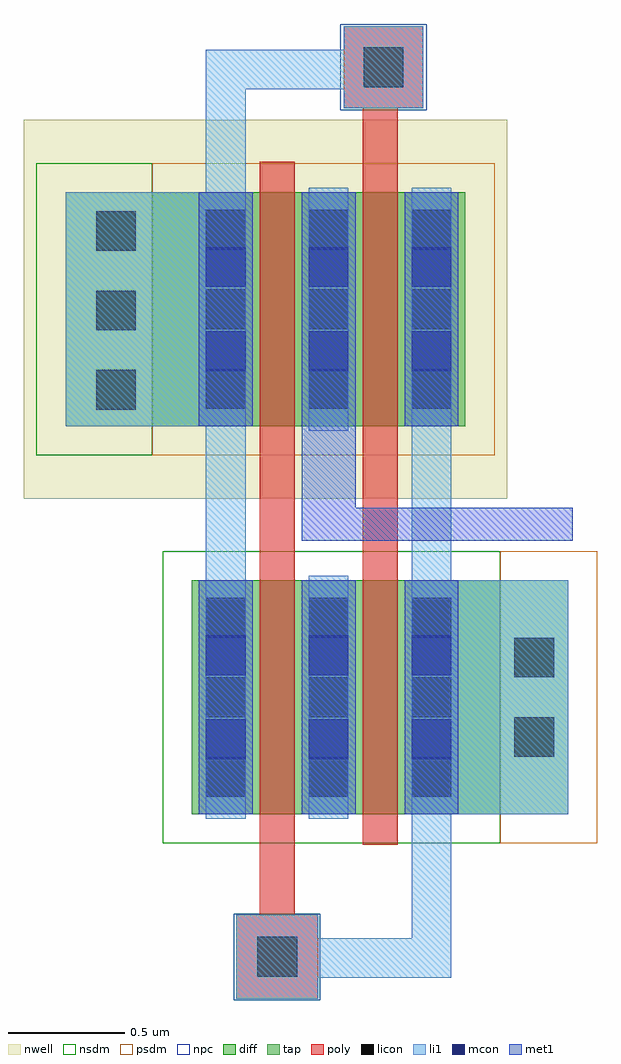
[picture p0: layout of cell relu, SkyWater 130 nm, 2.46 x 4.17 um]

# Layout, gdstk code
import gdstk
lib = gdstk.Library(unit=1e-6, precision=1e-09)
def R(c, l, rs):  # rectangles x0, y0, x1, y1
    for r in rs: c.add(gdstk.rectangle(r[:2], r[2:], *l))
def A(c, l, x, y, w, h, nx, ny, dx, dy):  # array of equal rectangles
    R(c, l, [(x+i*dx, y+j*dy, x+i*dx+w, y+j*dy+h) for i in range(nx) for j in range(ny)])
nwell = (64, 20)
diff = (65, 20)
tap = (65, 44)
poly = (66, 20)
licon = (66, 44)
li1 = (67, 20)
mcon = (67, 44)
met1 = (68, 20)
nsdm = (93, 44)
psdm = (94, 20)
npc = (95, 20)

sky130_fd_pr__pfet_01v8_ = lib.new_cell('sky130_fd_pr__pfet_01v8_5U3NDE')
R(sky130_fd_pr__pfet_01v8_, nwell, [(-0.545,-0.81,0.545,0.81)])
R(sky130_fd_pr__pfet_01v8_, diff, [(-0.365,-0.5,0.365,0.5)])
R(sky130_fd_pr__pfet_01v8_, poly, [(-0.075,-0.63,0.075,0.63)])
A(sky130_fd_pr__pfet_01v8_, licon, -0.305, -0.425, 0.17, 0.17, 1, 3, 0, 0.34)
A(sky130_fd_pr__pfet_01v8_, licon, 0.135, -0.425, 0.17, 0.17, 1, 3, 0, 0.34)
R(sky130_fd_pr__pfet_01v8_, li1, [(-0.305,-0.52,-0.135,0.52), (0.135,-0.52,0.305,0.52)])
R(sky130_fd_pr__pfet_01v8_, mcon, [(-0.305,-0.265,-0.135,-0.095), (0.135,-0.265,0.305,-0.095), (-0.305,0.095,-0.135,0.265), (0.135,0.095,0.305,0.265)])
R(sky130_fd_pr__pfet_01v8_, met1, [(-0.335,-0.5,-0.105,0.5), (0.105,-0.5,0.335,0.5)])
R(sky130_fd_pr__pfet_01v8_, psdm, [(-0.49,-0.625,0.49,0.625)])

sky130_fd_pr__nfet_01v8_ = lib.new_cell('sky130_fd_pr__nfet_01v8_J2TWZ5')
R(sky130_fd_pr__nfet_01v8_, diff, [(-0.365,-0.5,0.365,0.5)])
R(sky130_fd_pr__nfet_01v8_, poly, [(-0.075,-0.63,0.075,0.63)])
A(sky130_fd_pr__nfet_01v8_, licon, -0.305, -0.425, 0.17, 0.17, 1, 3, 0, 0.34)
A(sky130_fd_pr__nfet_01v8_, licon, 0.135, -0.425, 0.17, 0.17, 1, 3, 0, 0.34)
R(sky130_fd_pr__nfet_01v8_, li1, [(-0.305,-0.52,-0.135,0.52), (0.135,-0.52,0.305,0.52)])
R(sky130_fd_pr__nfet_01v8_, mcon, [(-0.305,-0.265,-0.135,-0.095), (0.135,-0.265,0.305,-0.095), (-0.305,0.095,-0.135,0.265), (0.135,0.095,0.305,0.265)])
R(sky130_fd_pr__nfet_01v8_, met1, [(-0.335,-0.5,-0.105,0.5), (0.105,-0.5,0.335,0.5)])
R(sky130_fd_pr__nfet_01v8_, nsdm, [(-0.49,-0.625,0.49,0.625)])

relu = lib.new_cell('relu')
R(relu, nwell, [(-3.78,2.38,-3.24,2.67), (-3.78,2.67,-3.23,2.69), (-3.78,2.69,-3,3.69), (-3.78,3.69,-3.23,3.73), (-3.78,3.73,-3.24,4)])
R(relu, diff, [(-1.89,1.03,-1.74,2.03), (-3.23,2.69,-3.06,3.69)])
R(relu, tap, [(-1.74,1.03,-1.45,2.03), (-3.6,2.69,-3.23,3.69)])
R(relu, poly, [(-2.87,0.24,-2.52,0.6), (-2.77,0.6,-2.62,0.9), (-2.77,2.16,-2.62,2.56), (-2.33,2.16,-2.18,2.56), (-2.33,3.82,-2.18,4.05), (-2.41,4.05,-2.07,4.4)])
A(relu, licon, -3.47, 2.76, 0.17, 0.17, 1, 3, 0, 0.34)
R(relu, licon, [(-2.78,0.335,-2.61,0.505), (-1.68,1.275,-1.51,1.445), (-1.68,1.615,-1.51,1.785), (-2.325,4.14,-2.155,4.31)])
R(relu, li1, [(-2.87,0.24,-2.52,0.33), (-2.87,0.33,-1.95,0.5), (-2.87,0.5,-2.52,0.6), (-2.12,0.5,-1.95,1.01), (-1.95,1.03,-1.45,2.03), (-3,2.05,-2.83,2.67), (-2.12,2.05,-1.95,2.67), (-3.6,2.69,-3,3.69), (-3,3.71,-2.83,4.13), (-2.41,4.05,-2.07,4.13), (-3,4.13,-2.07,4.3), (-2.41,4.3,-2.07,4.4)])
R(relu, met1, [(-2.59,2.2,-1.43,2.34), (-2.59,2.34,-2.36,2.69)])
R(relu, nsdm, [(-2.015,0.905,-1.74,2.155), (-3.725,2.565,-3.23,3.815)])
R(relu, psdm, [(-1.74,0.905,-1.325,2.155), (-3.23,2.565,-2.935,3.815)])
R(relu, npc, [(-2.88,0.235,-2.51,0.605), (-2.425,4.04,-2.055,4.41)])
relu.add(gdstk.Reference(sky130_fd_pr__pfet_01v8_, (-2.695,3.19)))
relu.add(gdstk.Reference(sky130_fd_pr__nfet_01v8_, (-2.255,1.53)))
relu.add(gdstk.Reference(sky130_fd_pr__pfet_01v8_, (-2.255,3.19)))
relu.add(gdstk.Reference(sky130_fd_pr__nfet_01v8_, (-2.695,1.53)))

lib.write_gds('relu.gds')
